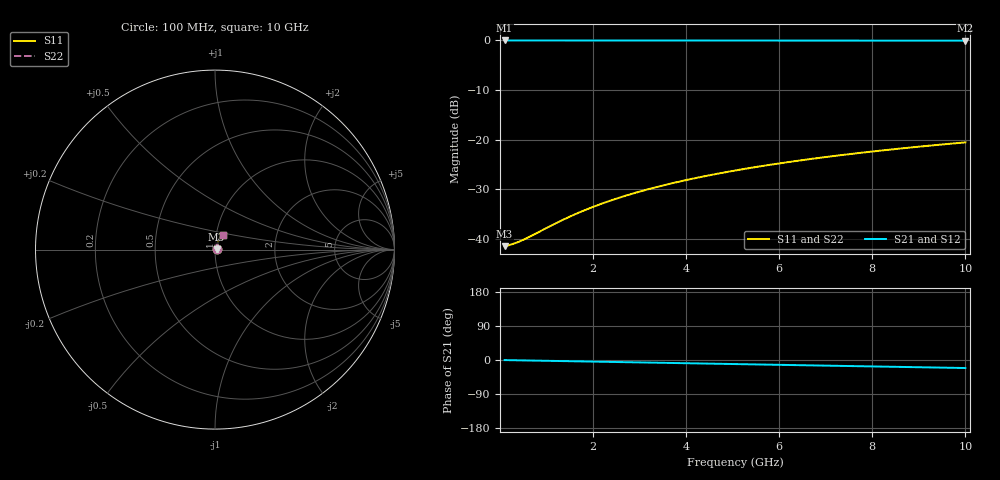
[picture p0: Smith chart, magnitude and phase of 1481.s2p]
# Hz S RI R 50.00
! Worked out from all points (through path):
!   100 points, 100 MHz to 10 GHz, reference 50 ohm
!   highest |S21| = -0.07 dB at 100 MHz (marker M1); lowest = -0.1 dB at 10 GHz (marker M2)
!   group delay of S21, straight-line fit = 5.89 ps
!   lowest |S11| = -41.4 dB at 100 MHz (marker M3), VSWR 1.02, Z = 50.9 + j0.0944 ohm
!   |S11| at or under -10 dB: start of sweep to end of sweep
!   |S22| runs from -41.4 to -20.6 dB; largest |S21 - S12| = 0
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1e8  0.00846 0.000928  0.9915 -0.00368  0.9915 -0.00368  0.00846 0.000928
2e8  0.00852 0.00186  0.9915 -0.00735  0.9915 -0.00735  0.00852 0.00186
3e8  0.00858 0.00278  0.9914 -0.011  0.9914 -0.011  0.00858 0.00278
5e8  0.00869 0.00464  0.9912 -0.0184  0.9912 -0.0184  0.00869 0.00464
7e8  0.00882 0.00649  0.991 -0.0257  0.991 -0.0257  0.00882 0.00649
1.3e9  0.00934 0.012  0.99 -0.0478  0.99 -0.0478  0.00934 0.012
1.5e9  0.00956 0.0139  0.9896 -0.0551  0.9896 -0.0551  0.00956 0.0139
1.8e9  0.00993 0.0166  0.9888 -0.0661  0.9888 -0.0661  0.00993 0.0166
2.1e9  0.0104 0.0194  0.9879 -0.0771  0.9879 -0.0771  0.0104 0.0194
2.5e9  0.011 0.023  0.9865 -0.0917  0.9865 -0.0917  0.011 0.023
2.9e9  0.0118 0.0266  0.9849 -0.1063  0.9849 -0.1063  0.0118 0.0266
3.4e9  0.0129 0.0311  0.9826 -0.1245  0.9826 -0.1245  0.0129 0.0311
3.8e9  0.014 0.0347  0.9805 -0.1391  0.9805 -0.1391  0.014 0.0347
4.2e9  0.0151 0.0382  0.9781 -0.1535  0.9781 -0.1535  0.0151 0.0382
4.6e9  0.0163 0.0417  0.9756 -0.168  0.9756 -0.168  0.0163 0.0417
5.1e9  0.018 0.046  0.972 -0.186  0.972 -0.186  0.018 0.046
5.9e9  0.021 0.0528  0.9657 -0.2145  0.9657 -0.2145  0.021 0.0528
6.7e9  0.0244 0.0593  0.9584 -0.2429  0.9584 -0.2429  0.0244 0.0593
7.5e9  0.0282 0.0656  0.9503 -0.271  0.9503 -0.271  0.0282 0.0656
8.4e9  0.0328 0.0725  0.9401 -0.3022  0.9401 -0.3022  0.0328 0.0725
9.2e9  0.0374 0.0783  0.9302 -0.3296  0.9302 -0.3296  0.0374 0.0783
1e10  0.0422 0.0838  0.9194 -0.3566  0.9194 -0.3566  0.0422 0.0838
